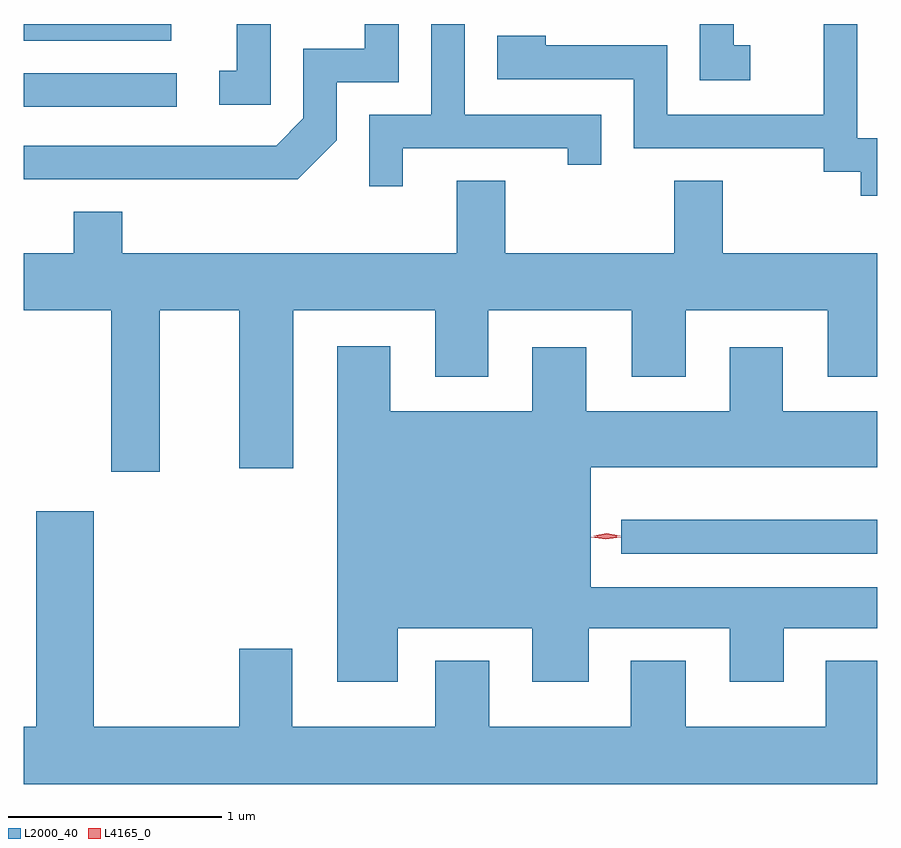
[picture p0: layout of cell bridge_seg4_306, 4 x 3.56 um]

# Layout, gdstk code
import gdstk
lib = gdstk.Library(unit=1e-6, precision=1e-09)
def R(c, l, rs):  # rectangles x0, y0, x1, y1
    for r in rs: c.add(gdstk.rectangle(r[:2], r[2:], *l))
def P(c, l, *ps):  # polygons
    for p in ps: c.add(gdstk.Polygon(p, *l))
L2000_40 = (2000, 40)
L4165_0 = (4165, 0)

bridge_seg4_306 = lib.new_cell('bridge_seg4_306')
R(bridge_seg4_306, L2000_40, [(550.263,1264.736,551.462,1264.894), (547.462,1266.831,548.178,1266.989), (547.462,1267.141,548.154,1267.219)])
P(bridge_seg4_306, L2000_40, [(551.462,1266.684),(551.369,1266.684),(551.369,1267.219),(551.211,1267.219),(551.211,1266.794),(550.479,1266.794),(550.479,1267.119),(549.909,1267.119),(549.909,1267.164),(549.681,1267.164),(549.681,1266.961),(550.321,1266.961),(550.321,1266.636),(551.211,1266.636),(551.211,1266.526),(551.386,1266.526),(551.386,1266.413),(551.462,1266.413)],
  [(550.868,1267.119),(550.789,1267.119),(550.789,1267.219),(550.631,1267.219),(550.631,1266.956),(550.868,1266.956)],
  [(549.239,1266.636),(550.011,1266.636),(550.011,1266.558),(550.169,1266.558),(550.169,1266.794),(549.529,1266.794),(549.529,1267.219),(549.371,1267.219),(549.371,1266.794),(549.081,1266.794),(549.081,1266.458),(549.239,1266.458)],
  [(548.929,1266.674),(548.929,1266.946),(549.219,1266.946),(549.219,1267.219),(549.061,1267.219),(549.061,1267.104),(548.771,1267.104),(548.771,1266.777),(548.644,1266.649),(547.462,1266.649),(547.462,1266.491),(548.747,1266.491)],
  [(548.619,1267.219),(548.461,1267.219),(548.461,1266.999),(548.378,1266.999),(548.378,1266.841),(548.619,1266.841)],
  [(548.099,1265.876),(548.471,1265.876),(548.471,1265.136),(548.724,1265.136),(548.724,1265.876),(549.391,1265.876),(549.391,1265.566),(549.639,1265.566),(549.639,1265.876),(550.311,1265.876),(550.311,1265.566),(550.564,1265.566),(550.564,1265.876),(551.231,1265.876),(551.231,1265.566),(551.462,1265.566),(551.462,1266.144),(550.739,1266.144),(550.739,1266.484),(550.511,1266.484),(550.511,1266.144),(549.719,1266.144),(549.719,1266.484),(549.491,1266.484),(549.491,1266.144),(547.924,1266.144),(547.924,1266.339),(547.696,1266.339),(547.696,1266.144),(547.462,1266.144),(547.462,1265.876),(547.871,1265.876),(547.871,1265.121),(548.099,1265.121)],
  [(549.214,1264.386),(549.846,1264.386),(549.846,1264.136),(550.109,1264.136),(550.109,1264.386),(550.771,1264.386),(550.771,1264.136),(551.024,1264.136),(551.024,1264.386),(551.462,1264.386),(551.462,1264.579),(550.119,1264.579),(550.119,1265.141),(551.462,1265.141),(551.462,1265.404),(551.019,1265.404),(551.019,1265.704),(550.771,1265.704),(550.771,1265.404),(550.099,1265.404),(550.099,1265.704),(549.846,1265.704),(549.846,1265.404),(549.179,1265.404),(549.179,1265.709),(548.931,1265.709),(548.931,1264.136),(549.214,1264.136)],
  [(551.462,1264.234),(551.221,1264.234),(551.221,1263.924),(550.564,1263.924),(550.564,1264.234),(550.306,1264.234),(550.306,1263.924),(549.644,1263.924),(549.644,1264.234),(549.391,1264.234),(549.391,1263.924),(548.719,1263.924),(548.719,1264.289),(548.471,1264.289),(548.471,1263.924),(547.789,1263.924),(547.789,1264.934),(547.521,1264.934),(547.521,1263.924),(547.462,1263.924),(547.462,1263.656),(551.462,1263.656)])
P(bridge_seg4_306, L4165_0, [(550.195,1264.811),(550.133,1264.82),(550.132,1264.821),(550.133,1264.821),(550.195,1264.831),(550.256,1264.821),(550.257,1264.821),(550.256,1264.82)],
  [(550.191,1264.803),(550.122,1264.812),(550.122,1264.813),(550.122,1264.813),(550.191,1264.823),(550.26,1264.813),(550.26,1264.813),(550.26,1264.812)])

lib.write_gds('bridge_seg4_306.gds')
